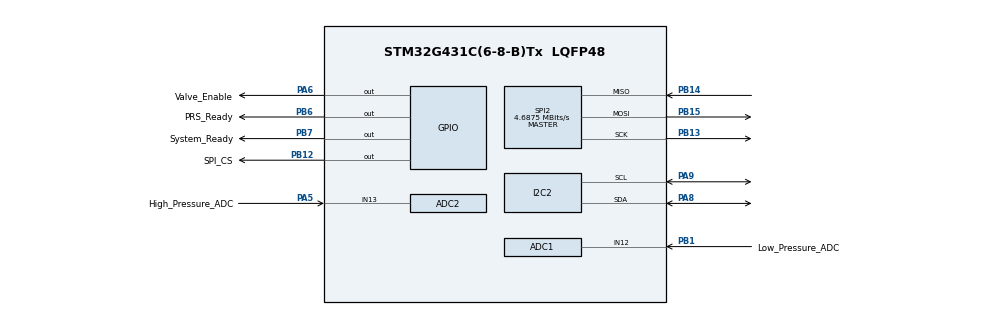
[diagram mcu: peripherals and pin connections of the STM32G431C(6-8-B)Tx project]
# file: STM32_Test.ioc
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ADC1.Channel-0\#ChannelRegularConversion=ADC_CHANNEL_12
ADC1.NbrOfConversionFlag=1
ADC1.SamplingTime-0\#ChannelRegularConversion=ADC_SAMPLETIME_47CYCLES_5
ADC1.master=1
ADC2.Channel-0\#ChannelRegularConversion=ADC_CHANNEL_13
ADC2.NbrOfConversionFlag=1
ADC2.SamplingTime-0\#ChannelRegularConversion=ADC_SAMPLETIME_47CYCLES_5
I2C2.Timing=0x20C0EDFF
Mcu.Family=STM32G4
Mcu.Name=STM32G431C(6-8-B)Tx
Mcu.Package=LQFP48
NVIC.PriorityGroup=NVIC_PRIORITYGROUP_4
PA13.Mode=Trace_Asynchronous_SW
PA13.Signal=SYS_JTMS-SWDIO
PA14.Mode=Trace_Asynchronous_SW
PA14.Signal=SYS_JTCK-SWCLK
PA5.GPIO_Label=High_Pressure_ADC
PA5.GPIO_Mode=GPIO_MODE_ANALOG
PA5.GPIO_PuPd=GPIO_NOPULL
PA5.Mode=IN13-Single-Ended
PA5.Signal=ADC2_IN13
PA6.GPIO_Label=Valve_Enable
PA6.GPIO_PuPd=GPIO_PULLDOWN
PA6.PinState=GPIO_PIN_SET
PA6.Signal=GPIO_Output
PA8.Mode=I2C
PA8.Signal=I2C2_SDA
PA9.Mode=I2C
PA9.Signal=I2C2_SCL
PB1.GPIO_Label=Low_Pressure_ADC
PB1.GPIO_Mode=GPIO_MODE_ANALOG
PB1.GPIO_PuPd=GPIO_NOPULL
PB1.Mode=IN12-Single-Ended
PB1.Signal=ADC1_IN12
PB12.GPIO_Label=SPI_CS
PB12.GPIO_PuPd=GPIO_PULLUP
PB12.PinState=GPIO_PIN_SET
PB12.Signal=GPIO_Output
PB13.GPIO_Speed=GPIO_SPEED_FREQ_HIGH
PB13.Mode=Full_Duplex_Master
PB13.Signal=SPI2_SCK
PB14.GPIO_Speed=GPIO_SPEED_FREQ_HIGH
PB14.Mode=Full_Duplex_Master
PB14.Signal=SPI2_MISO
PB15.GPIO_Speed=GPIO_SPEED_FREQ_HIGH
PB15.Mode=Full_Duplex_Master
PB15.Signal=SPI2_MOSI
PB3.Mode=Trace_Asynchronous_SW
PB3.Signal=SYS_JTDO-SWO
PB6.GPIO_Label=PRS_Ready
PB6.GPIO_PuPd=GPIO_PULLDOWN
PB6.PinState=GPIO_PIN_SET
PB6.Signal=GPIO_Output
PB7.GPIO_Label=System_Ready
PB7.GPIO_PuPd=GPIO_PULLDOWN
PB7.PinState=GPIO_PIN_SET
PB7.Signal=GPIO_Output
ProjectManager.HeapSize=0x200
ProjectManager.StackSize=0x400
ProjectManager.TargetToolchain=STM32CubeIDE
RCC.ADC12Freq_Value=150000000
RCC.AHBFreq_Value=150000000
RCC.APB1Freq_Value=150000000
RCC.APB1TimFreq_Value=150000000
RCC.APB2Freq_Value=150000000
RCC.APB2TimFreq_Value=150000000
RCC.CortexFreq_Value=150000000
RCC.EXTERNAL_CLOCK_VALUE=12288000
RCC.HCLKFreq_Value=150000000
RCC.HSE_VALUE=8000000
RCC.HSI48_VALUE=48000000
RCC.HSI_VALUE=16000000
RCC.LSE_VALUE=32768
RCC.PLLM=RCC_PLLM_DIV4
RCC.PLLN=75
RCC.SYSCLKFreq_VALUE=150000000
RCC.SYSCLKSource=RCC_SYSCLKSOURCE_PLLCLK
RCC.USBFreq_Value=150000000
RCC.VCOOutputFreq_Value=300000000
SPI2.BaudRatePrescaler=SPI_BAUDRATEPRESCALER_32
SPI2.CLKPhase=SPI_PHASE_2EDGE
SPI2.CalculateBaudRate=4.6875 MBits/s
SPI2.DataSize=SPI_DATASIZE_16BIT
SPI2.Direction=SPI_DIRECTION_2LINES
SPI2.Mode=SPI_MODE_MASTER
SPI2.VirtualType=VM_MASTER
TIM2.Channel-PWM\ Generation1\ No\ Output=TIM_CHANNEL_1
TIM2.PeriodNoDither=500-1
TIM2.Prescaler=60000-1
TIM2.TIM_MasterOutputTrigger=TIM_TRGO_UPDATE
VP_SYS_VS_DBSignals.Mode=DisableDeadBatterySignals
VP_TIM2_VS_ClockSourceINT.Mode=Internal
VP_TIM2_VS_no_output1.Mode=PWM Generation1 No Output
board=custom

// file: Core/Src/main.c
/* USER CODE BEGIN Header */
/**
 ******************************************************************************
 * @file           : main.c
 * @brief          : Main program body
 ******************************************************************************
 * @attention
 *
 * Copyright (c) 2024 STMicroelectronics.
 * All rights reserved.
 *
 * This software is licensed under terms that can be found in the LICENSE file
 * in the root directory of this software component.
 * If no LICENSE file comes with this software, it is provided AS-IS.
 *
 ******************************************************************************
 */
/* USER CODE END Header */
#include "main.h"

/* USER CODE BEGIN Includes */
#include <stdio.h>
/* USER CODE END Includes */

ADC_HandleTypeDef hadc1;
ADC_HandleTypeDef hadc2;

I2C_HandleTypeDef hi2c2;

SPI_HandleTypeDef hspi2;

TIM_HandleTypeDef htim2;

/* USER CODE BEGIN PV */

// Instructions for KP264 pressure sensor
// The reset bit for all commands is currently set to 0
const uint16_t request_pressure = 0b0010000000000000;
const uint16_t request_temperature = 0b0100000000000000;
const uint16_t request_diagnosis = 0b1000000000000000;
const uint16_t request_identifier = 0b1110000000000000;

// Bit masks for KP264 pressure sensor
const uint16_t data_mask = 0b0000011111111110;
const uint16_t com_error_mask = 0b0000000000000001;
const uint16_t FEC_error_mask = 0b1000000000000000;
const uint16_t Diag1_mask = 0b0100000000000000;
const uint16_t Diag2_mask = 0b0010000000000000;
const uint16_t pressure_over_max_mask = 0b0001000000000000;
const uint16_t pressure_under_min_mask = 0b0000100000000000;
const uint16_t no_error_mask = 0b0101000000000000;

// Pressure and temperature values in binary
uint16_t pressure_LSB;
uint16_t temperature_LSB;
// Pressure and temperature values in decimal
float pressure_Bar;
float temperature_C;
// Pressure transfer function parameters
float offs_p = -545.6; // LSB/kPa
float S_p = 13.64; // LSB

// CO2 level sensor variables
// CO2 sensor address
static const uint8_t CO2_sensor_ADDR = 0x62 << 1;
// Start periodic measurements command
uint8_t CO2_sensor_start_periodic_measurement[2];
// Check if data ready command
uint8_t CO2_sensor_data_ready[2];
// Read data command
uint8_t CO2_sensor_read[2];
// CO2 sensor data buffer
uint8_t CO2_buffer[18];
// CO2 sensor self test
uint8_t CO2_sensor_perform_self_test[2] = {0x36,0x39};

/* USER CODE END PV */

void SystemClock_Config(void);
static void MX_GPIO_Init(void);
static void MX_SPI2_Init(void);
static void MX_ADC2_Init(void);
static void MX_ADC1_Init(void);
static void MX_TIM2_Init(void);
static void MX_I2C2_Init(void);

/* USER CODE BEGIN 0 */
int _write(int file, char *ptr, int len)
 {
	 int DataIdx;
	 for (DataIdx = 0; DataIdx < len; DataIdx++)
	 {
		 ITM_SendChar(*ptr++);
	 }
	 return len;
 }
/* USER CODE END 0 */

int main(void) {

	/* USER CODE BEGIN 1 */

	// Define variables for low pressure sensor
	uint16_t low_pressure_raw;
	int low_pressure_voltage;
	float low_pressure;

	// Define variables for high pressure sensor
	uint16_t high_pressure_raw;
	int high_pressure_voltage;
	float high_pressure;

	// Define variables for pod pressure sensor
	uint16_t SPI_buffer;

	/* USER CODE END 1 */

	/* MCU Configuration--------------------------------------------------------*/

	/* Reset of all peripherals, Initializes the Flash interface and the Systick. */
	HAL_Init();

	/* Configure the system clock */
	SystemClock_Config();

	/* Initialize all configured peripherals */
	MX_GPIO_Init();
	MX_SPI2_Init();
	MX_ADC2_Init();
	MX_ADC1_Init();
	MX_TIM2_Init();
	MX_I2C2_Init();
	/* USER CODE BEGIN 2 */

	HAL_GPIO_WritePin(SPI_CS_GPIO_Port, SPI_CS_Pin, GPIO_PIN_SET);
	printf("Requesting SPI Identifier from Pressure Sensor... \r\n");
	HAL_GPIO_WritePin(SPI_CS_GPIO_Port, SPI_CS_Pin, GPIO_PIN_RESET);
	if (HAL_SPI_TransmitReceive(&hspi2, (uint8_t*) &request_identifier,
			(uint8_t*) &SPI_buffer, 1, 100) != HAL_OK) {
		printf("ERROR: SPI failed the HAL_OK check \r\n");
	}
	HAL_GPIO_WritePin(SPI_CS_GPIO_Port, SPI_CS_Pin, GPIO_PIN_SET);
	// Check if received data is notifying about any errors
	// Check for communication error
	if (SPI_buffer == com_error_mask) {
		printf("ERROR: Communication Error \r\n");
	}
	// Check for FEC Error
	else if ((SPI_buffer & FEC_error_mask) != 0) {
		printf("ERROR: FEC Error \r\n");
	}
	// Check for Acquisition Chain Failure
	else if ((SPI_buffer & no_error_mask) == Diag1_mask) {
		printf("ERROR: Acquisition chain failure \r\n");
	}
	// Check for Sensor Cell Failure
	else if ((SPI_buffer & Diag2_mask) != 0) {
		printf("ERROR: Sensor cell failure \r\n");
	}
	// Check if pressure is above measuring range maximum
	else if ((SPI_buffer & no_error_mask) == pressure_over_max_mask) {
		printf("ERROR: Pressure above measuring range maximum \r\n");
	}
	// Check if pressure is below measuring range minimum
	else if ((SPI_buffer & pressure_under_min_mask) != 0) {
		printf("ERROR: Pressure below measuring range minimum \r\n");
	}
	// Check if no errors were detected
	else if ((SPI_buffer & no_error_mask) == no_error_mask) {
		printf("No errors detected \r\n");
		printf("Identifier: %u \r\n", SPI_buffer);
	}

	// Calibrate ADCs
	HAL_ADCEx_Calibration_Start(&hadc1, ADC_SINGLE_ENDED);
	HAL_ADCEx_Calibration_Start(&hadc2, ADC_SINGLE_ENDED);

	HAL_Delay(100);

	// Define CO2 sensor commands
	CO2_sensor_start_periodic_measurement[0] = 0x21;
	CO2_sensor_start_periodic_measurement[1] = 0xb1;

	CO2_sensor_data_ready[0] = 0xe4;
	CO2_sensor_data_ready[1] = 0xb8;

	CO2_sensor_read[0] = 0xec;
	CO2_sensor_read[1] = 0x05;

	// Check if CO2 sensor can talk over I2C
	if (HAL_I2C_IsDeviceReady(&hi2c2, CO2_sensor_ADDR, 5, 1) == HAL_OK) {
		printf("CO2 sensor READY \r\n");
	} else {
		printf("CO2 sensor NOT READY \r\n");
	}

	// Command CO2 sensor to begin periodic measurements
	/*
	if (HAL_I2C_Master_Transmit(&hi2c2, CO2_sensor_ADDR, CO2_sensor_start_periodic_measurement, 1, 1) == HAL_OK) {
		printf("Periodic measurements BEGUN  \r\n");
	} else {
		printf("Periodic measurements NOT BEGUN \r\n");
	}
	*/

	/* USER CODE END 2 */

	/* Infinite loop */
	while (1) {

		/* USER CODE BEGIN 3 */

		// Toggle the LEDs
		HAL_GPIO_TogglePin(Valve_Enable_GPIO_Port, Valve_Enable_Pin);
		HAL_Delay(100);
		HAL_GPIO_TogglePin(Valve_Enable_GPIO_Port, Valve_Enable_Pin);
		HAL_GPIO_TogglePin(GPIOB, PRS_Ready_Pin);
		HAL_Delay(100);
		HAL_GPIO_TogglePin(GPIOB, PRS_Ready_Pin);
		HAL_GPIO_TogglePin(GPIOB, System_Ready_Pin);
		HAL_Delay(100);
		HAL_GPIO_TogglePin(GPIOB, System_Ready_Pin);

		// Measure Pod Pressure
		HAL_GPIO_WritePin(SPI_CS_GPIO_Port, SPI_CS_Pin, GPIO_PIN_RESET);
		if (HAL_SPI_TransmitReceive(&hspi2, (uint8_t*) &request_pressure,
				(uint8_t*) &SPI_buffer, 1, 100) != HAL_OK) {
			printf("ERROR: SPI failed the HAL_OK check \r\n");
		}
		HAL_GPIO_WritePin(SPI_CS_GPIO_Port, SPI_CS_Pin, GPIO_PIN_SET);
		// Check if received data is notifying about any errors
		// Check for communication error
		if (SPI_buffer == com_error_mask) {
			printf("ERROR: Communication Error \r\n");
		}
		// Check for FEC Error
		else if ((SPI_buffer & FEC_error_mask) != 0) {
			printf("ERROR: FEC Error \r\n");
		}
		// Check for Acquisition Chain Failure
		else if ((SPI_buffer & no_error_mask) == Diag1_mask) {
			printf("ERROR: Acquisition chain failure \r\n");
			printf("Received bytes = %u", SPI_buffer);
		}
		// Check for Sensor Cell Failure
		else if ((SPI_buffer & Diag2_mask) != 0) {
			printf("ERROR: Sensor cell failure \r\n");
		}
		// Check if pressure is above measuring range maximum
		else if ((SPI_buffer & no_error_mask) == pressure_over_max_mask) {
			printf("ERROR: Pressure above measuring range maximum \r\n");
		}
		// Check if pressure is below measuring range minimum
		else if ((SPI_buffer & pressure_under_min_mask) != 0) {
			printf("ERROR: Pressure below measuring range minimum \r\n");
		}
		// Check if no errors were detected
		else if ((SPI_buffer & no_error_mask) == no_error_mask) {
			printf("No errors detected \r\n");
			// Get the pressure data using a bit mask and right shift operator to get rid of parity bit
			pressure_LSB = (SPI_buffer & data_mask) >> 1;
			// Convert pressure from LSB to kPa using transfer function from data sheet
			pressure_Bar = ((float) pressure_LSB - offs_p) / S_p;
			// Convert pressure from Bar to kPa
			// pressure_Bar = pressure_Bar/100;
			// Print pressure value
			printf("Measured pressure: %i kPa \r\n", (int) pressure_Bar);
		}

		// Start ADC1 Conversion
		HAL_ADC_Start(&hadc1);
		// Poll ADC1 Peripheral & TimeOut = 1mSec
		HAL_ADC_PollForConversion(&hadc1, 1);
		// Read The ADC Conversion Result & Print it
		low_pressure_raw = HAL_ADC_GetValue(&hadc1);
		low_pressure_voltage = (int) low_pressure_raw * 3300 / (4095); // mV
		if (low_pressure_voltage <= 120 * 0.004 * 1000) {
			low_pressure = 0; // mBar
		} else {
			low_pressure = ((float) low_pressure_voltage - 120 * 0.004 * 1000)
					* 10000 / (120 * (0.02 - 0.004) * 1000); // mBar
		}
		printf("Low Pressure = %i mBar\r\n", (int) low_pressure);

		// Start ADC2 Conversion
		HAL_ADC_Start(&hadc2);
		// Poll ADC2 Peripheral & TimeOut = 1mSec
		HAL_ADC_PollForConversion(&hadc2, 1);
		// Read The ADC Conversion Result & Print it
		high_pressure_raw = HAL_ADC_GetValue(&hadc2);
		high_pressure_voltage = (int) high_pressure_raw * 3300 / 4095; // mV
		if (high_pressure_voltage <= 120 * 0.004 * 1000) {
			high_pressure = 0; // mBar
		} else {
			high_pressure = ((float) high_pressure_voltage - 120 * 0.004 * 1000)
					* 250 / (120 * (0.02 - 0.004) * 1000); // Bar
		}
		printf("High Pressure = %i Bar\r\n", (int) high_pressure);

		// Test that CO2 sensor works
		if (HAL_I2C_Master_Transmit(&hi2c2, CO2_sensor_ADDR, CO2_sensor_perform_self_test, 1, HAL_MAX_DELAY) == HAL_OK) {
			if (HAL_I2C_Master_Receive(&hi2c2, CO2_sensor_ADDR, CO2_buffer, 3, HAL_MAX_DELAY) == HAL_OK) {
				printf("Self test complete \r\n");
			}
			else {
				printf("Rx error \r\n");
			}
		}
		else {
			printf("Tx error \r\n");
		}

		/*
		// Get CO2 sensor measurement
		if (HAL_I2C_Master_Transmit(&hi2c2, CO2_sensor_ADDR, CO2_sensor_read, 2, HAL_MAX_DELAY) != HAL_OK) {
			printf("Error Tx\r\n");
		} else {
			// Read 2 bytes from the temperature register
			if (HAL_I2C_Master_Receive(&hi2c2, CO2_sensor_ADDR, CO2_buffer, 18, HAL_MAX_DELAY) != HAL_OK) {
				printf("Error Rx\r\n");
			} else {
				printf("Data received\r\n");
			}
		}
		*/

		// Check if CO2 sensor has a measurement ready

		/*

		uint8_t CO2_sensor_data_ready_buffer[3];
		if (HAL_I2C_Master_Transmit(&hi2c2, CO2_sensor_ADDR, CO2_sensor_data_ready, 1, 1) == HAL_OK) {
			if (HAL_I2C_Master_Receive(&hi2c2, CO2_sensor_ADDR, CO2_sensor_data_ready_buffer, 3, 1) == HAL_OK) {
				printf("CO2 sensor has measurement ready \r\n");
				printf("Response to data ready = %i - %i \r\n", (int)CO2_sensor_data_ready_buffer[0], (int)CO2_sensor_data_ready_buffer[1]);

				// Create buffer to store CO2 measurement
				uint8_t CO2_measurement[12];
				// Write command to read CO2 measurement
				if (HAL_I2C_Master_Transmit(&hi2c2, CO2_sensor_ADDR, CO2_sensor_read, 2, 1) == HAL_OK) {
					//Read CO2 measurement
					if(HAL_I2C_Master_Receive(&hi2c2, CO2_sensor_ADDR, CO2_measurement, 9, 1) == HAL_OK) {
						//printf("CO2 SENSOR DATA = i% - i% \r\n", CO2_measurement[0], CO2_measurement[1]);
					}
					else {
						printf("Failed to receive read command \r\n");
					}
				}
				else {
					printf("Failed to transmit read command \r\n");
				}

			}
			else{
				printf("no receive \r\n");
			}
		}
		else {
			printf("CO2 sensor DOES NOT HAVE A MEASUREMENT READY\r\n");
		}

		*/

		// Check if CO2 sensor has a measurement ready
		/*
		if (HAL_I2C_Master_Transmit(&hi2c2, CO2_sensor_ADDR, CO2_sensor_data_ready, 2, 1) == HAL_OK) {
			if (HAL_I2C_Master_Receive(&hi2c2, CO2_sensor_ADDR, CO2_buffer, 9, 50) == HAL_OK) {
				printf("CO2 sensor RECEIVING, data = %i %i - %i %i - %i %i \r\n", (int) CO2_buffer[0], (int) CO2_buffer[1], (int) CO2_buffer[3], (int) CO2_buffer[4], (int) CO2_buffer[6], (int) CO2_buffer[7]);
			} else {
				printf("CO2 sensor NOT RECEIVING \r\n");
			}
		} else {
			printf("CO2 sensor DOES NOT HAVE A MEASUREMENT READY\r\n");
		}
		*/

		/*
		// Read measurement from CO2 sensor
		if (HAL_I2C_Master_Transmit(&hi2c2, CO2_sensor_ADDR, CO2_sensor_read, 2,
				1) == HAL_OK) {
			if (HAL_I2C_Master_Receive(&hi2c2, CO2_sensor_ADDR | 0x01,
					CO2_buffer, 9, 50) == HAL_OK) {
				temp = (CO2_buffer[6] << 8) | (CO2_buffer[7]);
				temp_float = -45 + 175 * temp / (65536 - 1);
				printf("TEMPERATURE READING = %i \r\n", (int) temp_float);
			} else {
				printf("read command NOT RECEIVING \r\n");
			}
		} else {
			printf("read command NOT TRANSMITTING \r\n");
		}
		*/

		/* USER CODE END 3 */
	}
}

	/**
	 * @brief System Clock Configuration
	 * @retval None
	 */
	void SystemClock_Config(void) {
		RCC_OscInitTypeDef RCC_OscInitStruct = { 0 };
		RCC_ClkInitTypeDef RCC_ClkInitStruct = { 0 };

		/** Configure the main internal regulator output voltage
		 */
		HAL_PWREx_ControlVoltageScaling(PWR_REGULATOR_VOLTAGE_SCALE1);

		/** Initializes the RCC Oscillators according to the specified parameters
		 * in the RCC_OscInitTypeDef structure.
		 */
		RCC_OscInitStruct.OscillatorType = RCC_OSCILLATORTYPE_HSI;
		RCC_OscInitStruct.HSIState = RCC_HSI_ON;
		RCC_OscInitStruct.HSICalibrationValue = RCC_HSICALIBRATION_DEFAULT;
		RCC_OscInitStruct.PLL.PLLState = RCC_PLL_ON;
		RCC_OscInitStruct.PLL.PLLSource = RCC_PLLSOURCE_HSI;
		RCC_OscInitStruct.PLL.PLLM = RCC_PLLM_DIV4;
		RCC_OscInitStruct.PLL.PLLN = 75;
		RCC_OscInitStruct.PLL.PLLP = RCC_PLLP_DIV2;
		RCC_OscInitStruct.PLL.PLLQ = RCC_PLLQ_DIV2;
		RCC_OscInitStruct.PLL.PLLR = RCC_PLLR_DIV2;
		if (HAL_RCC_OscConfig(&RCC_OscInitStruct) != HAL_OK) {
			Error_Handler();
		}

		/** Initializes the CPU, AHB and APB buses clocks
		 */
		RCC_ClkInitStruct.ClockType = RCC_CLOCKTYPE_HCLK | RCC_CLOCKTYPE_SYSCLK
				| RCC_CLOCKTYPE_PCLK1 | RCC_CLOCKTYPE_PCLK2;
		RCC_ClkInitStruct.SYSCLKSource = RCC_SYSCLKSOURCE_PLLCLK;
		RCC_ClkInitStruct.AHBCLKDivider = RCC_SYSCLK_DIV1;
		RCC_ClkInitStruct.APB1CLKDivider = RCC_HCLK_DIV1;
		RCC_ClkInitStruct.APB2CLKDivider = RCC_HCLK_DIV1;

		if (HAL_RCC_ClockConfig(&RCC_ClkInitStruct, FLASH_LATENCY_4)
				!= HAL_OK) {
			Error_Handler();
		}
	}

	/**
	 * @brief ADC1 Initialization Function
	 * @param None
	 * @retval None
	 */
	static void MX_ADC1_Init(void) {

		ADC_MultiModeTypeDef multimode = { 0 };
		ADC_ChannelConfTypeDef sConfig = { 0 };

		/** Common config
		 */
		hadc1.Instance = ADC1;
		hadc1.Init.ClockPrescaler = ADC_CLOCK_SYNC_PCLK_DIV4;
		hadc1.Init.Resolution = ADC_RESOLUTION_12B;
		hadc1.Init.DataAlign = ADC_DATAALIGN_RIGHT;
		hadc1.Init.GainCompensation = 0;
		hadc1.Init.ScanConvMode = ADC_SCAN_DISABLE;
		hadc1.Init.EOCSelection = ADC_EOC_SINGLE_CONV;
		hadc1.Init.LowPowerAutoWait = DISABLE;
		hadc1.Init.ContinuousConvMode = DISABLE;
		hadc1.Init.NbrOfConversion = 1;
		hadc1.Init.DiscontinuousConvMode = DISABLE;
		hadc1.Init.ExternalTrigConv = ADC_SOFTWARE_START;
		hadc1.Init.ExternalTrigConvEdge = ADC_EXTERNALTRIGCONVEDGE_NONE;
		hadc1.Init.DMAContinuousRequests = DISABLE;
		hadc1.Init.Overrun = ADC_OVR_DATA_PRESERVED;
		hadc1.Init.OversamplingMode = DISABLE;
		if (HAL_ADC_Init(&hadc1) != HAL_OK) {
			Error_Handler();
		}

		/** Configure the ADC multi-mode
		 */
		multimode.Mode = ADC_MODE_INDEPENDENT;
		if (HAL_ADCEx_MultiModeConfigChannel(&hadc1, &multimode) != HAL_OK) {
			Error_Handler();
		}

		/** Configure Regular Channel
		 */
		sConfig.Channel = ADC_CHANNEL_12;
		sConfig.Rank = ADC_REGULAR_RANK_1;
		sConfig.SamplingTime = ADC_SAMPLETIME_47CYCLES_5;
		sConfig.SingleDiff = ADC_SINGLE_ENDED;
		sConfig.OffsetNumber = ADC_OFFSET_NONE;
		sConfig.Offset = 0;
		if (HAL_ADC_ConfigChannel(&hadc1, &sConfig) != HAL_OK) {
			Error_Handler();
		}

	}

	/**
	 * @brief ADC2 Initialization Function
	 * @param None
	 * @retval None
	 */
	static void MX_ADC2_Init(void) {

		ADC_ChannelConfTypeDef sConfig = { 0 };

		/** Common config
		 */
		hadc2.Instance = ADC2;
		hadc2.Init.ClockPrescaler = ADC_CLOCK_SYNC_PCLK_DIV4;
		hadc2.Init.Resolution = ADC_RESOLUTION_12B;
		hadc2.Init.DataAlign = ADC_DATAALIGN_RIGHT;
		hadc2.Init.GainCompensation = 0;
		hadc2.Init.ScanConvMode = ADC_SCAN_DISABLE;
		hadc2.Init.EOCSelection = ADC_EOC_SINGLE_CONV;
		hadc2.Init.LowPowerAutoWait = DISABLE;
		hadc2.Init.ContinuousConvMode = DISABLE;
		hadc2.Init.NbrOfConversion = 1;
		hadc2.Init.DiscontinuousConvMode = DISABLE;
		hadc2.Init.ExternalTrigConv = ADC_SOFTWARE_START;
		hadc2.Init.ExternalTrigConvEdge = ADC_EXTERNALTRIGCONVEDGE_NONE;
		hadc2.Init.DMAContinuousRequests = DISABLE;
		hadc2.Init.Overrun = ADC_OVR_DATA_PRESERVED;
		hadc2.Init.OversamplingMode = DISABLE;
		if (HAL_ADC_Init(&hadc2) != HAL_OK) {
			Error_Handler();
		}

		/** Configure Regular Channel
		 */
		sConfig.Channel = ADC_CHANNEL_13;
		sConfig.Rank = ADC_REGULAR_RANK_1;
		sConfig.SamplingTime = ADC_SAMPLETIME_47CYCLES_5;
		sConfig.SingleDiff = ADC_SINGLE_ENDED;
		sConfig.OffsetNumber = ADC_OFFSET_NONE;
		sConfig.Offset = 0;
		if (HAL_ADC_ConfigChannel(&hadc2, &sConfig) != HAL_OK) {
			Error_Handler();
		}

	}

	/**
	 * @brief I2C2 Initialization Function
	 * @param None
	 * @retval None
	 */
	static void MX_I2C2_Init(void) {

		hi2c2.Instance = I2C2;
		hi2c2.Init.Timing = 0x20C0EDFF;
		hi2c2.Init.OwnAddress1 = 0;
		hi2c2.Init.AddressingMode = I2C_ADDRESSINGMODE_7BIT;
		hi2c2.Init.DualAddressMode = I2C_DUALADDRESS_DISABLE;
		hi2c2.Init.OwnAddress2 = 0;
		hi2c2.Init.OwnAddress2Masks = I2C_OA2_NOMASK;
		hi2c2.Init.GeneralCallMode = I2C_GENERALCALL_DISABLE;
		hi2c2.Init.NoStretchMode = I2C_NOSTRETCH_DISABLE;
		if (HAL_I2C_Init(&hi2c2) != HAL_OK) {
			Error_Handler();
		}

		/** Configure Analogue filter
		 */
		if (HAL_I2CEx_ConfigAnalogFilter(&hi2c2, I2C_ANALOGFILTER_ENABLE)
				!= HAL_OK) {
			Error_Handler();
		}

		/** Configure Digital filter
		 */
		if (HAL_I2CEx_ConfigDigitalFilter(&hi2c2, 0) != HAL_OK) {
			Error_Handler();
		}

	}

	/**
	 * @brief SPI2 Initialization Function
	 * @param None
	 * @retval None
	 */
	static void MX_SPI2_Init(void) {

		/* SPI2 parameter configuration*/
		hspi2.Instance = SPI2;
		hspi2.Init.Mode = SPI_MODE_MASTER;
		hspi2.Init.Direction = SPI_DIRECTION_2LINES;
		hspi2.Init.DataSize = SPI_DATASIZE_16BIT;
		hspi2.Init.CLKPolarity = SPI_POLARITY_LOW;
		hspi2.Init.CLKPhase = SPI_PHASE_2EDGE;
		hspi2.Init.NSS = SPI_NSS_SOFT;
		hspi2.Init.BaudRatePrescaler = SPI_BAUDRATEPRESCALER_32;
		hspi2.Init.FirstBit = SPI_FIRSTBIT_MSB;
		hspi2.Init.TIMode = SPI_TIMODE_DISABLE;
		hspi2.Init.CRCCalculation = SPI_CRCCALCULATION_DISABLE;
		hspi2.Init.CRCPolynomial = 7;
		hspi2.Init.CRCLength = SPI_CRC_LENGTH_DATASIZE;
		hspi2.Init.NSSPMode = SPI_NSS_PULSE_DISABLE;
		if (HAL_SPI_Init(&hspi2) != HAL_OK) {
			Error_Handler();
		}

	}

	/**
	 * @brief TIM2 Initialization Function
	 * @param None
	 * @retval None
	 */
	static void MX_TIM2_Init(void) {

		TIM_ClockConfigTypeDef sClockSourceConfig = { 0 };
		TIM_MasterConfigTypeDef sMasterConfig = { 0 };
		TIM_OC_InitTypeDef sConfigOC = { 0 };

		htim2.Instance = TIM2;
		htim2.Init.Prescaler = 60000 - 1;
		htim2.Init.CounterMode = TIM_COUNTERMODE_UP;
		htim2.Init.Period = 499;
		htim2.Init.ClockDivision = TIM_CLOCKDIVISION_DIV1;
		htim2.Init.AutoReloadPreload = TIM_AUTORELOAD_PRELOAD_DISABLE;
		if (HAL_TIM_Base_Init(&htim2) != HAL_OK) {
			Error_Handler();
		}
		sClockSourceConfig.ClockSource = TIM_CLOCKSOURCE_INTERNAL;
		if (HAL_TIM_ConfigClockSource(&htim2, &sClockSourceConfig) != HAL_OK) {
			Error_Handler();
		}
		if (HAL_TIM_PWM_Init(&htim2) != HAL_OK) {
			Error_Handler();
		}
		sMasterConfig.MasterOutputTrigger = TIM_TRGO_UPDATE;
		sMasterConfig.MasterSlaveMode = TIM_MASTERSLAVEMODE_DISABLE;
		if (HAL_TIMEx_MasterConfigSynchronization(&htim2, &sMasterConfig)
				!= HAL_OK) {
			Error_Handler();
		}
		sConfigOC.OCMode = TIM_OCMODE_PWM1;
		sConfigOC.Pulse = 0;
		sConfigOC.OCPolarity = TIM_OCPOLARITY_HIGH;
		sConfigOC.OCFastMode = TIM_OCFAST_DISABLE;
		if (HAL_TIM_PWM_ConfigChannel(&htim2, &sConfigOC, TIM_CHANNEL_1)
				!= HAL_OK) {
			Error_Handler();
		}

	}

	/**
	 * @brief GPIO Initialization Function
	 * @param None
	 * @retval None
	 */
	static void MX_GPIO_Init(void) {
		GPIO_InitTypeDef GPIO_InitStruct = { 0 };

		/* GPIO Ports Clock Enable */
		__HAL_RCC_GPIOA_CLK_ENABLE();
		__HAL_RCC_GPIOB_CLK_ENABLE();

		/*Configure GPIO pin Output Level */
		HAL_GPIO_WritePin(Valve_Enable_GPIO_Port, Valve_Enable_Pin,
				GPIO_PIN_SET);

		/*Configure GPIO pin Output Level */
		HAL_GPIO_WritePin(GPIOB, SPI_CS_Pin | PRS_Ready_Pin | System_Ready_Pin,
				GPIO_PIN_SET);

		/*Configure GPIO pin : Valve_Enable_Pin */
		GPIO_InitStruct.Pin = Valve_Enable_Pin;
		GPIO_InitStruct.Mode = GPIO_MODE_OUTPUT_PP;
		GPIO_InitStruct.Pull = GPIO_PULLDOWN;
		GPIO_InitStruct.Speed = GPIO_SPEED_FREQ_LOW;
		HAL_GPIO_Init(Valve_Enable_GPIO_Port, &GPIO_InitStruct);

		/*Configure GPIO pin : SPI_CS_Pin */
		GPIO_InitStruct.Pin = SPI_CS_Pin;
		GPIO_InitStruct.Mode = GPIO_MODE_OUTPUT_PP;
		GPIO_InitStruct.Pull = GPIO_PULLUP;
		GPIO_InitStruct.Speed = GPIO_SPEED_FREQ_LOW;
		HAL_GPIO_Init(SPI_CS_GPIO_Port, &GPIO_InitStruct);

		/*Configure GPIO pins : PRS_Ready_Pin System_Ready_Pin */
		GPIO_InitStruct.Pin = PRS_Ready_Pin | System_Ready_Pin;
		GPIO_InitStruct.Mode = GPIO_MODE_OUTPUT_PP;
		GPIO_InitStruct.Pull = GPIO_PULLDOWN;
		GPIO_InitStruct.Speed = GPIO_SPEED_FREQ_LOW;
		HAL_GPIO_Init(GPIOB, &GPIO_InitStruct);

	}

	/* USER CODE BEGIN 4 */
	int write(int file, char *ptr, int len) {
		(void) file;
		int DataIdx;

		for (DataIdx = 0; DataIdx < len; DataIdx++) {
			ITM_SendChar(*ptr++);
		}
		return len;
	}
	/* USER CODE END 4 */

	/**
	 * @brief  This function is executed in case of error occurrence.
	 * @retval None
	 */
	void Error_Handler(void) {
		__disable_irq();
		while (1) {
		}
	}
